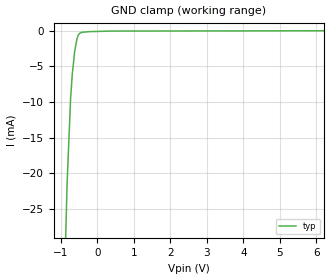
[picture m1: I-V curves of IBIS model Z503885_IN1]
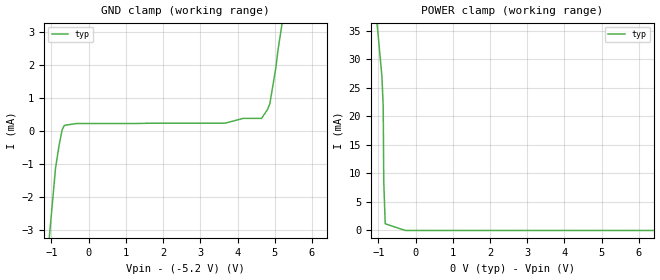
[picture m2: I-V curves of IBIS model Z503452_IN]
| YOU ARE ONLY AUTHORIZED TO USE THIS SOFTWARE
| ACCORDING TO LICENSOR'S LICENSE RESTRICTIONS.
[IBIS Ver] 3.1
[File Name] mc100h604fn.doc
[File Rev] 1
[Source] Derived from mc10h645fn.ibs, mc10h116fn.ibs, and
|   mc10h209fn.ibs Measured and created by ICX Technology
[Date] 2/11/2004
[Copyright]
| (C) COPYRIGHT 1993-2000
| MENTOR GRAPHICS CORPORATION
| ICX STANDARD LIBRARY, ICX PROJECT MODELING,
| ICX CUSTOM MODELING, ICX VENDOR MODEL
| ALL RIGHTS RESERVED.
| THE FOLLOWING ARE TRADEMARKS OR SERVICE MARKS OF
| MENTOR GRAPHICS CORPORATION:ICX (R), ICX STANDARD
| LIBRARY(R), ICX PROJECT MODELING(R), ICX CUSTOM
| MODELING(R), qualityIBIS(TM), MODELVIEWER(TM),
| AND MODELEDITOR(TM)
| ALL COPIES OF SOFTWARE, INCLUDING BUT NOT LIMITED TO
| ANY MODIFICATIONS, ENHANCEMENTS OR DERIVATIVE WORKS,
| MUST CONTAIN ALL MENTOR GRAPHICS CORPORATION'S
| NOTICES AND LEGENDS, INCLUDING THOSE EMBEDDED IN
| SOFTWARE AND THOSE AFFIXED TO SOFTWARE MEDIUM
| AND CONTAINER, AS RECEIVED FROM MENTOR GRAPHICS
| CORPORATION.
|  ZAP Model Builder 2.7
[Component] MC100H645FN
[Manufacturer] OnSemiconductor
[Package]
| variable   typ   min   max
R_pkg  .083ohms NA NA
L_pkg  4.299nH NA NA
C_pkg  1.045pF NA NA
[Pin] signal_name  model_name  R_pin  L_pin C_pin
1 _CLK Z503452_IN .2 2.758n .708p
2 CLK Z503452_IN .2 2.758n .708p
3 MR Z503452_IN .2 2.758n .708p
4 VCC POWER .08 3.94n .925p
5 Q0 Z503452_IN .2 2.758n .708p
6 _Q0 Z503452_IN .2 2.758n .708p
7 VEE POWER .224 7.258n 1.578p
8 Q1 Z503452_IN .2 2.758n .708p
9 _Q1 Z503452_IN .2 2.758n .708p
10 Q2 Z503452_IN .2 2.758n .708p
11 _Q2 Z503452_IN .2 2.758n .708p
12 Q3 Z503452_IN .2 2.758n .708p
13 _Q3 Z503452_IN .2 2.758n .708p
14 VCC POWER .08 3.94n .925p
15 Q4 Z503452_IN .2 2.758n .708p
16 _Q4 Z503452_IN .2 2.758n .708p
17 Q5 Z503452_IN .2 2.758n .708p
18 _Q5 Z503452_IN .2 2.758n .708p
19 VCC POWER .08 3.94n .925p
20 D5 Z503885_IN1 .082 4.14n .995p
21 D4 Z503885_IN1 .082 4.14n .995p
22 D3 Z503885_IN1 .082 4.14n .995p
23 VCC POWER .082 4.14n .995p
24 D2 Z503885_IN1 .082 4.14n .995p
25 D1 Z503885_IN1 .082 4.14n .995p
26 D0 Z503885_IN1 .082 4.14n .995p
27 TCLK Z503885_IN1 .082 4.14n .995p
28 VBB POWER .208 3.758n .998p
| Models and submodels in the file (2): Z503885_IN1 (Input), Z503452_IN (Input_ECL)
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| (C) COPYRIGHT 1993-2000
| MENTOR GRAPHICS CORPORATION
| ICX STANDARD LIBRARY, ICX PROJECT MODELING,
| ICX CUSTOM MODELING, ICX VENDOR MODEL
| ALL RIGHTS RESERVED.
| THE FOLLOWING ARE TRADEMARKS OR SERVICE MARKS OF
| MENTOR GRAPHICS CORPORATION:ICX (R), ICX STANDARD
| LIBRARY(R), ICX PROJECT MODELING(R), ICX CUSTOM
| MODELING(R), qualityIBIS(TM), MODELVIEWER(TM),
| AND MODELEDITOR(TM)
| ALL COPIES OF SOFTWARE, INCLUDING BUT NOT LIMITED TO
| ANY MODIFICATIONS, ENHANCEMENTS OR DERIVATIVE WORKS,
| MUST CONTAIN ALL MENTOR GRAPHICS CORPORATION'S
| NOTICES AND LEGENDS, INCLUDING THOSE EMBEDDED IN
| SOFTWARE AND THOSE AFFIXED TO SOFTWARE MEDIUM
| AND CONTAINER, AS RECEIVED FROM MENTOR GRAPHICS
| CORPORATION.
| Model Application Version 1.89 2/18/99.
[Model] Z503885_IN1
Model_type Input
Vinl = 3.525V
Vinh = 3.835V
C_comp 4.000pF NA NA
| variable typ   min   max
[Voltage Range] 5.000V NA NA
[GND Clamp Reference] 0.000V NA NA
[POWER Clamp Reference] 5.000V NA NA
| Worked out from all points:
|   GND clamp passes 1 mA (typ) near -0.55 V on its own axis
[GND Clamp]
-5V       -851.6mA   NA         NA
-829mV    -21.59mA   NA         NA
-732.4mV  -9.481mA   NA         NA
-687.5mV  -6.154mA   NA         NA
-618.8mV  -2.808mA   NA         NA
-557.4mV  -1.125mA   NA         NA
-524.9mV  -625.1uA   NA         NA
-483.3mV  -346.9uA   NA         NA
-425.4mV  -202.3uA   NA         NA
-212.7mV  -111.5uA   NA         NA
371.1mV   -31.8uA    NA         NA
10V       38.26uA    NA         NA
[POWER Clamp]
-5V       0A         NA         NA
10V       0A         NA         NA
| (C) COPYRIGHT 1993-2000
| MENTOR GRAPHICS CORPORATION
| ICX STANDARD LIBRARY, ICX PROJECT MODELING,
| ICX CUSTOM MODELING, ICX VENDOR MODEL
| ALL RIGHTS RESERVED.
| THE FOLLOWING ARE TRADEMARKS OR SERVICE MARKS OF
| MENTOR GRAPHICS CORPORATION:ICX (R), ICX STANDARD
| LIBRARY(R), ICX PROJECT MODELING(R), ICX CUSTOM
| MODELING(R), qualityIBIS(TM), MODELVIEWER(TM),
| AND MODELEDITOR(TM)
| ALL COPIES OF SOFTWARE, INCLUDING BUT NOT LIMITED TO
| ANY MODIFICATIONS, ENHANCEMENTS OR DERIVATIVE WORKS,
| MUST CONTAIN ALL MENTOR GRAPHICS CORPORATION'S
| NOTICES AND LEGENDS, INCLUDING THOSE EMBEDDED IN
| SOFTWARE AND THOSE AFFIXED TO SOFTWARE MEDIUM
| AND CONTAINER, AS RECEIVED FROM MENTOR GRAPHICS
| CORPORATION.
| Model Application Version 1.89 2/18/99.
[Model] Z503452_IN
Model_type Input_ECL
Vinl = -1.480V
Vinh = -1.130V
C_comp 4.000pF NA NA
| variable typ   min   max
[Voltage Range] -5.200V NA NA
[GND Clamp Reference] -5.200V NA NA
[POWER Clamp Reference] 0.000V NA NA
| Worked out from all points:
|   GND clamp passes 1 mA (typ) near -0.87 V on its own axis
[GND Clamp]
-5.2V     -255.4mA   NA         NA
-1.109V   -3.888mA   NA         NA
-892mV    -1.15mA    NA         NA
-796mV    -452.7uA   NA         NA
-713mV    21.16uA    NA         NA
-654mV    156.5uA    NA         NA
3.661V    222.2uA    NA         NA
4.645V    367.9uA    NA         NA
4.868V    812.6uA    NA         NA
5.028V    1.895mA    NA         NA
5.084V    2.42mA     NA         NA
10.4V     41.35mA    NA         NA
[POWER Clamp]
-5.2V     635.3mA    NA         NA
-1.82V    78.72mA    NA         NA
-1.733V   70.35mA    NA         NA
-1.201V   45.87mA    NA         NA
-1.016V   35.04mA    NA         NA
-903.4mV  26.96mA    NA         NA
-869.1mV  21.72mA    NA         NA
-854.5mV  8.573mA    NA         NA
-815.4mV  1.179mA    NA         NA
-542mV    570.5uA    NA         NA
-271mV    0A         NA         NA
10.4V     0A         NA         NA
